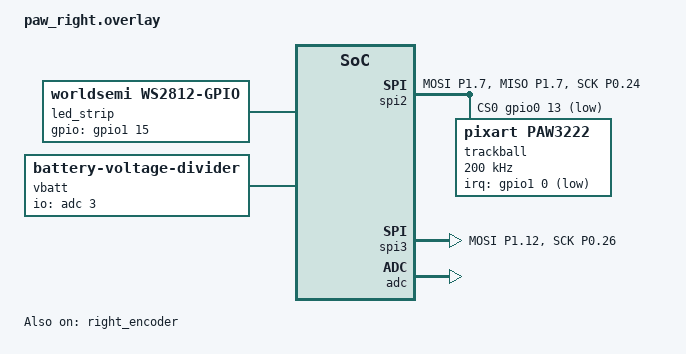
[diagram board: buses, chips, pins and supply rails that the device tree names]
/*
 * Copyright (c) 2020 ZMK Contributors
 *
 * SPDX-License-Identifier: MIT
 */

#include "paw.dtsi"
#include <dt-bindings/led/led.h>

&matrix_transform0 {
    col-offset = <6>;
};

/ {
    chosen {
        zmk,underglow = &led_strip;
    };
};

&kscan0 {
    col-gpios
            = <&gpio0 10 (GPIO_ACTIVE_HIGH | GPIO_PULL_DOWN)>
            , <&gpio1 13 (GPIO_ACTIVE_HIGH | GPIO_PULL_DOWN)>
            , <&gpio0 28 (GPIO_ACTIVE_HIGH | GPIO_PULL_DOWN)>
            , <&gpio0 03 (GPIO_ACTIVE_HIGH | GPIO_PULL_DOWN)>
            , <&gpio1 10 (GPIO_ACTIVE_HIGH | GPIO_PULL_DOWN)>
            , <&gpio1 11 (GPIO_ACTIVE_HIGH | GPIO_PULL_DOWN)>
            ;
};

&right_encoder {
    status = "okay";
};

&pinctrl {
    spi2_default: spi2_default {
        group1 {
            psels = <NRF_PSEL(SPIM_MOSI, 1, 7)>,
                    <NRF_PSEL(SPIM_MISO, 1, 7)>,
                    <NRF_PSEL(SPIM_SCK, 0, 24)>;
        };
    };
    spi2_sleep: spi2_sleep {
        group1 {
            psels = <NRF_PSEL(SPIM_MOSI, 1, 7)>,
                    <NRF_PSEL(SPIM_MISO, 1, 7)>,
                    <NRF_PSEL(SPIM_SCK, 0, 24)>;
            low-power-enable;
        };
    };
    spi3_default: spi3_default {
        group1 {
            psels = <NRF_PSEL(SPIM_MOSI, 1, 12)>,
                    <NRF_PSEL(SPIM_SCK, 0, 26)>;
        };
    };
    spi3_sleep: spi3_sleep {
        group1 {
            psels = <NRF_PSEL(SPIM_MOSI, 1, 12)>,
                    <NRF_PSEL(SPIM_SCK, 0, 26)>;
            low-power-enable;
        };
    };
};

&spi2 {
    status = "okay";
    compatible = "nordic,nrf-spim";
    pinctrl-0 = <&spi2_default>;
    pinctrl-1 = <&spi2_sleep>;
    pinctrl-names = "default", "sleep";
    cs-gpios = <&gpio0 13 GPIO_ACTIVE_LOW>;
    trackball: trackball@0 {
        status = "okay";
        compatible = "pixart,paw3222";
        reg = <0>;
        spi-max-frequency = <200000>;
        irq-gpios = <&gpio1 0 GPIO_ACTIVE_LOW>;
    };
};

&spi3 {
    compatible = "nordic,nrf-spim";
    pinctrl-0 = <&spi3_default>;
    pinctrl-1 = <&spi3_sleep>;
    pinctrl-names = "default", "sleep";
    cs-gpios = <&gpio1 14 (GPIO_ACTIVE_HIGH | GPIO_PULL_DOWN)>;
};

nice_view_spi: &spi3 {
    compatible = "nordic,nrf-spim";
    pinctrl-0 = <&spi3_default>;
    pinctrl-1 = <&spi3_sleep>;
    pinctrl-names = "default", "sleep";
    cs-gpios = <&gpio1 14 (GPIO_ACTIVE_HIGH | GPIO_PULL_DOWN)>;
};

lpm_view_spi: &spi3 {
    compatible = "nordic,nrf-spim";
    pinctrl-0 = <&spi3_default>;
    pinctrl-1 = <&spi3_sleep>;
    pinctrl-names = "default", "sleep";
    cs-gpios = <&gpio1 14 (GPIO_ACTIVE_HIGH | GPIO_PULL_DOWN)>;
};

&pmw_split {
    device = <&trackball>;
};

/ {
    led_strip: ws2812 {
        compatible = "worldsemi,ws2812-gpio";
        gpios = <&gpio1 15 GPIO_ACTIVE_HIGH>;
        chain-length = <25>;
        color-mapping = <LED_COLOR_ID_GREEN LED_COLOR_ID_RED LED_COLOR_ID_BLUE>;
    };
};

&adc {
    status = "okay";
};

/* battery-fix (AIN3):
 * 恢复外部分压测量，并把通道改成正确的 AIN2。
 *
 * 硬件（见原理图）：SW_OUT --[R2 806k]-- battery_adc_pin --[R3 2M]-- GND
 *   分压比 = R3/(R2+R3) = 2000000/2806000 = 0.7126
 *   3.78V 电池 -> 分压点约 2.69V
 *   所以 output-ohms 必须是 R3，full-ohms 必须是 R2+R3：
 *       output-ohms = <2000000>;
 *       full-ohms   = <2806000>;
 *
 * 之前的两处错误：
 *   1) io-channels = <&adc 12> —— 12 是芯片【内部】的 VDDH/5 通道。
 *      这块板子的 VDDH 是稳压过的 ~3.3V，代入 ZMK 的百分比公式
 *      (mv*2/15-459) 得到负数 -> 百分比恒为 0。
 *   2) 曾改成 zmk,battery-nrf-vddh（直接测 VDDH）—— 同样是测错了地方。
 *
 * 现在改成 AIN3 = P0.05（nice!nano v1 的电池脚；这块板子的分压电阻值
 * 与 v1 完全一致，说明是照 v1 的电路画的）。
 *
 * 若读数仍不合理，把 &adc 3 换成 &adc 2（AIN2 = P0.04），
 * 它是这块板子上唯一另一个空闲的模拟脚。
 */

/ {
    vbatt: vbatt {
        compatible = "zmk,battery-voltage-divider";
        io-channels = <&adc 3>;
        output-ohms = <2000000>;
        full-ohms = <2806000>;
    };
};
